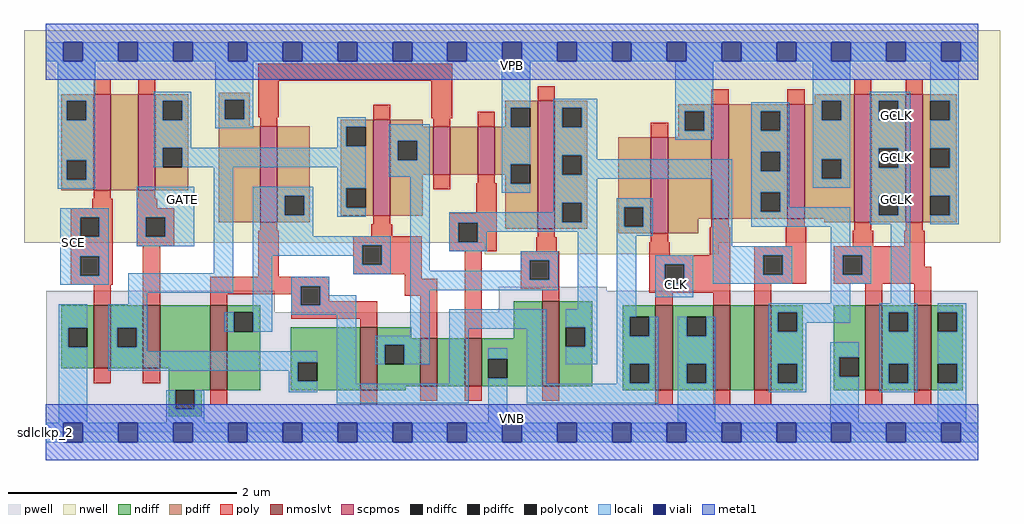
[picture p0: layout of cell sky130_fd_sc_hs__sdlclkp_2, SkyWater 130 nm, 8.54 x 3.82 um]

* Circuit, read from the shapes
.subckt sky130_fd_sc_hs__sdlclkp_2 CLK GATE SCE VGND VNB VPB VPWR GCLK
XM1 n1 SCE VGND VNB sky130_fd_pr__nfet_01v8_lvt w=0.55 l=0.15
XM2 VGND GATE n1 VNB sky130_fd_pr__nfet_01v8_lvt w=0.55 l=0.15
XM3 n2 n3 VGND VNB sky130_fd_pr__nfet_01v8_lvt w=0.74 l=0.15
XM4 n4 n3 n1 VNB sky130_fd_pr__nfet_01v8_lvt w=0.55 l=0.15
XM5 n5 n2 n4 VNB sky130_fd_pr__nfet_01v8_lvt w=0.42 l=0.15
XM6 VGND n6 n5 VNB sky130_fd_pr__nfet_01v8_lvt w=0.42 l=0.15
XM7 n6 n4 VGND VNB sky130_fd_pr__nfet_01v8_lvt w=0.74 l=0.15
XM8 VGND CLK n3 VNB sky130_fd_pr__nfet_01v8_lvt w=0.74 l=0.15
XM9 n7 CLK VGND VNB sky130_fd_pr__nfet_01v8_lvt w=0.74 l=0.15
XM10 n8 n6 n7 VNB sky130_fd_pr__nfet_01v8_lvt w=0.74 l=0.15
XM11 GCLK n8 VGND VNB sky130_fd_pr__nfet_01v8_lvt w=0.74 l=0.15 m=2
XM12 n9 SCE VPWR VPB sky130_fd_pr__pfet_01v8 w=0.84 l=0.15
XM13 n1 GATE n9 VPB sky130_fd_pr__pfet_01v8 w=0.84 l=0.15
XM14 n2 n3 VPWR VPB sky130_fd_pr__pfet_01v8 w=0.84 l=0.15
XM15 n4 n2 n1 VPB sky130_fd_pr__pfet_01v8 w=0.84 l=0.15
XM16 n10 n3 n4 VPB sky130_fd_pr__pfet_01v8 w=0.42 l=0.15
XM17 VPWR n6 n10 VPB sky130_fd_pr__pfet_01v8 w=0.42 l=0.15
XM18 n6 n4 VPWR VPB sky130_fd_pr__pfet_01v8 w=1.12 l=0.15
XM19 VPWR CLK n3 VPB sky130_fd_pr__pfet_01v8 w=0.84 l=0.15
XM20 n8 CLK VPWR VPB sky130_fd_pr__pfet_01v8 w=1 l=0.15
XM21 VPWR n6 n8 VPB sky130_fd_pr__pfet_01v8 w=1 l=0.15
XM22 GCLK n8 VPWR VPB sky130_fd_pr__pfet_01v8 w=1.12 l=0.15 m=2
.ends

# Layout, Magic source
magic
tech sky130A
magscale 1 2
<< nwell >>
rect -38 332 1670 704
rect 768 312 1178 332
<< pwell >>
rect 793 248 982 255
rect 1 210 401 248
rect 793 210 1631 248
rect 1 49 1631 210
rect 0 0 1632 49
<< scpmos >>
rect 84 424 114 592
rect 162 424 192 592
rect 375 368 405 536
rect 573 379 603 547
rect 678 451 708 535
rect 756 451 786 535
rect 861 356 891 580
rect 1059 348 1089 516
rect 1165 374 1195 574
rect 1298 374 1328 574
rect 1415 368 1445 592
rect 1505 368 1535 592
<< nmoslvt >>
rect 84 112 114 222
rect 170 112 200 222
rect 288 74 318 222
rect 550 74 580 184
rect 655 81 685 165
rect 733 81 763 165
rect 869 81 899 229
rect 1067 74 1097 222
rect 1168 74 1198 222
rect 1240 74 1270 222
rect 1434 74 1464 222
rect 1520 74 1550 222
<< ndiff >>
rect 27 183 84 222
rect 27 149 39 183
rect 73 149 84 183
rect 27 112 84 149
rect 114 183 170 222
rect 114 149 125 183
rect 159 149 170 183
rect 114 112 170 149
rect 200 112 288 222
rect 215 74 288 112
rect 318 210 375 222
rect 318 176 329 210
rect 363 176 375 210
rect 318 74 375 176
rect 429 123 550 184
rect 429 89 441 123
rect 475 89 550 123
rect 429 74 550 89
rect 580 165 640 184
rect 819 165 869 229
rect 580 153 655 165
rect 580 119 593 153
rect 627 119 655 153
rect 580 81 655 119
rect 685 81 733 165
rect 763 129 869 165
rect 763 95 774 129
rect 808 95 869 129
rect 763 81 869 95
rect 899 184 956 229
rect 899 150 910 184
rect 944 150 956 184
rect 899 81 956 150
rect 1010 202 1067 222
rect 1010 168 1022 202
rect 1056 168 1067 202
rect 1010 120 1067 168
rect 1010 86 1022 120
rect 1056 86 1067 120
rect 580 74 630 81
rect 215 40 227 74
rect 261 40 273 74
rect 1010 74 1067 86
rect 1097 202 1168 222
rect 1097 168 1122 202
rect 1156 168 1168 202
rect 1097 120 1168 168
rect 1097 86 1122 120
rect 1156 86 1168 120
rect 1097 74 1168 86
rect 1198 74 1240 222
rect 1270 210 1325 222
rect 1270 176 1281 210
rect 1315 176 1325 210
rect 1270 120 1325 176
rect 1270 86 1281 120
rect 1315 86 1325 120
rect 1270 74 1325 86
rect 1379 131 1434 222
rect 1379 97 1389 131
rect 1423 97 1434 131
rect 1379 74 1434 97
rect 1464 210 1520 222
rect 1464 176 1475 210
rect 1509 176 1520 210
rect 1464 120 1520 176
rect 1464 86 1475 120
rect 1509 86 1520 120
rect 1464 74 1520 86
rect 1550 210 1605 222
rect 1550 176 1561 210
rect 1595 176 1605 210
rect 1550 120 1605 176
rect 1550 86 1561 120
rect 1595 86 1605 120
rect 1550 74 1605 86
rect 215 28 273 40
<< pdiff >>
rect 27 580 84 592
rect 27 546 37 580
rect 71 546 84 580
rect 27 476 84 546
rect 27 442 37 476
rect 71 442 84 476
rect 27 424 84 442
rect 114 424 162 592
rect 192 580 249 592
rect 192 546 205 580
rect 239 546 249 580
rect 192 498 249 546
rect 192 464 205 498
rect 239 464 249 498
rect 192 424 249 464
rect 303 582 357 594
rect 303 548 313 582
rect 347 548 357 582
rect 303 536 357 548
rect 804 568 861 580
rect 303 368 375 536
rect 405 414 462 536
rect 405 380 418 414
rect 452 380 462 414
rect 405 368 462 380
rect 516 535 573 547
rect 516 501 526 535
rect 560 501 573 535
rect 516 427 573 501
rect 516 393 526 427
rect 560 393 573 427
rect 516 379 573 393
rect 603 535 660 547
rect 804 535 814 568
rect 603 510 678 535
rect 603 476 616 510
rect 650 476 678 510
rect 603 451 678 476
rect 708 451 756 535
rect 786 534 814 535
rect 848 534 861 568
rect 786 469 861 534
rect 786 451 814 469
rect 603 379 660 451
rect 804 435 814 451
rect 848 435 861 469
rect 804 356 861 435
rect 891 568 948 580
rect 1346 580 1415 592
rect 1346 574 1358 580
rect 891 534 904 568
rect 938 534 948 568
rect 1107 562 1165 574
rect 891 485 948 534
rect 1107 528 1118 562
rect 1152 528 1165 562
rect 1107 516 1165 528
rect 891 451 904 485
rect 938 451 948 485
rect 891 402 948 451
rect 891 368 904 402
rect 938 368 948 402
rect 891 356 948 368
rect 1002 394 1059 516
rect 1002 360 1012 394
rect 1046 360 1059 394
rect 1002 348 1059 360
rect 1089 374 1165 516
rect 1195 562 1298 574
rect 1195 528 1251 562
rect 1285 528 1298 562
rect 1195 491 1298 528
rect 1195 457 1251 491
rect 1285 457 1298 491
rect 1195 420 1298 457
rect 1195 386 1251 420
rect 1285 386 1298 420
rect 1195 374 1298 386
rect 1328 546 1358 574
rect 1392 546 1415 580
rect 1328 478 1415 546
rect 1328 444 1358 478
rect 1392 444 1415 478
rect 1328 374 1415 444
rect 1089 348 1142 374
rect 1362 368 1415 374
rect 1445 580 1505 592
rect 1445 546 1458 580
rect 1492 546 1505 580
rect 1445 497 1505 546
rect 1445 463 1458 497
rect 1492 463 1505 497
rect 1445 414 1505 463
rect 1445 380 1458 414
rect 1492 380 1505 414
rect 1445 368 1505 380
rect 1535 580 1594 592
rect 1535 546 1548 580
rect 1582 546 1594 580
rect 1535 497 1594 546
rect 1535 463 1548 497
rect 1582 463 1594 497
rect 1535 414 1594 463
rect 1535 380 1548 414
rect 1582 380 1594 414
rect 1535 368 1594 380
<< ndiffc >>
rect 39 149 73 183
rect 125 149 159 183
rect 329 176 363 210
rect 441 89 475 123
rect 593 119 627 153
rect 774 95 808 129
rect 910 150 944 184
rect 1022 168 1056 202
rect 1022 86 1056 120
rect 227 40 261 74
rect 1122 168 1156 202
rect 1122 86 1156 120
rect 1281 176 1315 210
rect 1281 86 1315 120
rect 1389 97 1423 131
rect 1475 176 1509 210
rect 1475 86 1509 120
rect 1561 176 1595 210
rect 1561 86 1595 120
<< pdiffc >>
rect 37 546 71 580
rect 37 442 71 476
rect 205 546 239 580
rect 205 464 239 498
rect 313 548 347 582
rect 418 380 452 414
rect 526 501 560 535
rect 526 393 560 427
rect 616 476 650 510
rect 814 534 848 568
rect 814 435 848 469
rect 904 534 938 568
rect 1118 528 1152 562
rect 904 451 938 485
rect 904 368 938 402
rect 1012 360 1046 394
rect 1251 528 1285 562
rect 1251 457 1285 491
rect 1251 386 1285 420
rect 1358 546 1392 580
rect 1358 444 1392 478
rect 1458 546 1492 580
rect 1458 463 1492 497
rect 1458 380 1492 414
rect 1548 546 1582 580
rect 1548 463 1582 497
rect 1548 380 1582 414
<< poly >>
rect 84 592 114 618
rect 162 592 192 618
rect 372 615 711 645
rect 372 551 408 615
rect 375 536 405 551
rect 573 547 603 573
rect 675 550 711 615
rect 861 580 891 606
rect 84 409 114 424
rect 162 409 192 424
rect 81 392 117 409
rect 44 376 117 392
rect 44 342 60 376
rect 94 342 117 376
rect 44 308 117 342
rect 159 392 195 409
rect 159 376 225 392
rect 159 342 175 376
rect 209 342 225 376
rect 678 535 708 550
rect 756 535 786 561
rect 678 425 708 451
rect 756 436 786 451
rect 753 383 789 436
rect 375 353 405 368
rect 573 364 603 379
rect 706 367 789 383
rect 159 326 225 342
rect 44 274 60 308
rect 94 274 117 308
rect 44 258 117 274
rect 84 222 114 258
rect 170 222 200 326
rect 372 272 408 353
rect 570 343 606 364
rect 538 327 658 343
rect 538 293 554 327
rect 588 293 658 327
rect 706 333 722 367
rect 756 333 789 367
rect 1165 574 1195 600
rect 1298 574 1328 600
rect 1415 592 1445 618
rect 1505 592 1535 618
rect 1059 516 1089 542
rect 861 341 891 356
rect 1165 359 1195 374
rect 1298 359 1328 374
rect 706 317 789 333
rect 858 317 894 341
rect 1059 333 1089 348
rect 538 277 658 293
rect 288 256 496 272
rect 288 242 446 256
rect 288 222 318 242
rect 430 222 446 242
rect 480 229 496 256
rect 628 269 658 277
rect 628 239 685 269
rect 480 222 580 229
rect 84 86 114 112
rect 170 86 200 112
rect 430 199 580 222
rect 550 184 580 199
rect 655 165 685 239
rect 733 165 763 317
rect 831 301 899 317
rect 831 267 847 301
rect 881 267 899 301
rect 831 251 899 267
rect 869 229 899 251
rect 1056 310 1092 333
rect 1162 310 1198 359
rect 1295 326 1331 359
rect 1415 353 1445 368
rect 1505 353 1535 368
rect 1412 326 1448 353
rect 1502 326 1538 353
rect 1056 294 1198 310
rect 1056 260 1083 294
rect 1117 260 1198 294
rect 1056 244 1198 260
rect 1067 222 1097 244
rect 1168 222 1198 244
rect 1240 310 1331 326
rect 1240 276 1256 310
rect 1290 276 1331 310
rect 1240 260 1331 276
rect 1379 310 1538 326
rect 1379 276 1395 310
rect 1429 290 1538 310
rect 1429 276 1550 290
rect 1379 260 1550 276
rect 1240 222 1270 260
rect 1434 222 1464 260
rect 1520 222 1550 260
rect 288 48 318 74
rect 550 48 580 74
rect 655 55 685 81
rect 733 55 763 81
rect 869 55 899 81
rect 1067 48 1097 74
rect 1168 48 1198 74
rect 1240 48 1270 74
rect 1434 48 1464 74
rect 1520 48 1550 74
<< polycont >>
rect 60 342 94 376
rect 175 342 209 376
rect 60 274 94 308
rect 554 293 588 327
rect 722 333 756 367
rect 446 222 480 256
rect 847 267 881 301
rect 1083 260 1117 294
rect 1256 276 1290 310
rect 1395 276 1429 310
<< locali >>
rect 0 649 31 683
rect 65 649 127 683
rect 161 649 223 683
rect 257 649 319 683
rect 353 649 415 683
rect 449 649 511 683
rect 545 649 607 683
rect 641 649 703 683
rect 737 649 799 683
rect 833 649 895 683
rect 929 649 991 683
rect 1025 649 1087 683
rect 1121 649 1183 683
rect 1217 649 1279 683
rect 1313 649 1375 683
rect 1409 649 1471 683
rect 1505 649 1567 683
rect 1601 649 1632 683
rect 21 580 87 649
rect 21 546 37 580
rect 71 546 87 580
rect 21 476 87 546
rect 21 442 37 476
rect 71 442 87 476
rect 189 580 255 596
rect 189 546 205 580
rect 239 546 255 580
rect 189 498 255 546
rect 297 582 363 649
rect 297 548 313 582
rect 347 548 363 582
rect 798 568 848 649
rect 297 532 363 548
rect 510 535 560 551
rect 510 501 526 535
rect 510 498 560 501
rect 189 464 205 498
rect 239 464 560 498
rect 21 426 87 442
rect 25 376 110 392
rect 25 342 60 376
rect 94 342 110 376
rect 25 308 110 342
rect 159 376 260 430
rect 159 342 175 376
rect 209 342 260 376
rect 159 326 260 342
rect 25 274 60 308
rect 94 274 110 308
rect 294 278 328 464
rect 25 258 110 274
rect 144 244 328 278
rect 362 414 468 430
rect 362 380 418 414
rect 452 380 468 414
rect 362 343 468 380
rect 510 427 560 464
rect 600 510 672 539
rect 600 476 616 510
rect 650 476 672 510
rect 600 447 672 476
rect 510 393 526 427
rect 510 377 560 393
rect 362 327 604 343
rect 362 309 554 327
rect 144 224 178 244
rect 23 183 73 224
rect 23 149 39 183
rect 23 17 73 149
rect 109 183 178 224
rect 362 210 396 309
rect 538 293 554 309
rect 588 293 604 327
rect 538 277 604 293
rect 638 283 672 447
rect 798 534 814 568
rect 798 469 848 534
rect 798 435 814 469
rect 798 419 848 435
rect 888 568 965 584
rect 888 534 904 568
rect 938 534 965 568
rect 888 485 965 534
rect 1102 562 1168 649
rect 1342 580 1408 649
rect 1102 528 1118 562
rect 1152 528 1168 562
rect 1102 512 1168 528
rect 1235 562 1301 578
rect 1235 528 1251 562
rect 1285 528 1301 562
rect 888 451 904 485
rect 938 478 965 485
rect 1235 491 1301 528
rect 938 451 1201 478
rect 888 444 1201 451
rect 888 402 965 444
rect 888 385 904 402
rect 706 368 904 385
rect 938 368 965 402
rect 706 367 965 368
rect 706 333 722 367
rect 756 351 965 367
rect 756 333 772 351
rect 706 317 772 333
rect 831 301 897 317
rect 831 283 847 301
rect 109 149 125 183
rect 159 149 178 183
rect 313 176 329 210
rect 363 176 396 210
rect 430 256 496 272
rect 430 222 446 256
rect 480 240 496 256
rect 638 267 847 283
rect 881 267 897 301
rect 638 249 897 267
rect 480 222 543 240
rect 430 206 543 222
rect 109 142 178 149
rect 109 123 475 142
rect 109 108 441 123
rect 425 89 441 108
rect 211 40 227 74
rect 261 40 277 74
rect 425 70 475 89
rect 509 85 543 206
rect 638 169 672 249
rect 931 215 965 351
rect 577 153 672 169
rect 577 119 593 153
rect 627 119 672 153
rect 706 181 876 215
rect 706 85 740 181
rect 509 51 740 85
rect 774 129 808 147
rect 211 17 277 40
rect 774 17 808 95
rect 842 85 876 181
rect 910 184 965 215
rect 944 150 965 184
rect 910 119 965 150
rect 999 394 1062 410
rect 999 360 1012 394
rect 1046 360 1062 394
rect 999 344 1062 360
rect 999 202 1033 344
rect 1167 326 1201 444
rect 1235 457 1251 491
rect 1285 457 1301 491
rect 1235 420 1301 457
rect 1342 546 1358 580
rect 1392 546 1408 580
rect 1342 478 1408 546
rect 1342 444 1358 478
rect 1392 444 1408 478
rect 1342 428 1408 444
rect 1442 580 1513 596
rect 1442 546 1458 580
rect 1492 546 1513 580
rect 1442 497 1513 546
rect 1442 463 1458 497
rect 1492 463 1513 497
rect 1235 386 1251 420
rect 1285 394 1301 420
rect 1442 414 1513 463
rect 1285 386 1408 394
rect 1235 360 1408 386
rect 1442 380 1458 414
rect 1492 380 1513 414
rect 1442 364 1513 380
rect 1548 580 1598 649
rect 1582 546 1598 580
rect 1548 497 1598 546
rect 1582 463 1598 497
rect 1548 414 1598 463
rect 1582 380 1598 414
rect 1548 364 1598 380
rect 1374 326 1408 360
rect 1167 310 1306 326
rect 1067 294 1133 310
rect 1067 260 1083 294
rect 1117 260 1133 294
rect 1167 276 1256 310
rect 1290 276 1306 310
rect 1167 260 1306 276
rect 1374 310 1445 326
rect 1374 276 1395 310
rect 1429 276 1445 310
rect 1374 260 1445 276
rect 1067 236 1133 260
rect 1374 226 1408 260
rect 1479 226 1513 364
rect 1265 210 1408 226
rect 999 168 1022 202
rect 1056 168 1072 202
rect 999 120 1072 168
rect 999 86 1022 120
rect 1056 86 1072 120
rect 999 85 1072 86
rect 842 51 1072 85
rect 1106 168 1122 202
rect 1156 168 1172 202
rect 1106 120 1172 168
rect 1106 86 1122 120
rect 1156 86 1172 120
rect 1106 17 1172 86
rect 1265 176 1281 210
rect 1315 192 1408 210
rect 1459 210 1525 226
rect 1315 176 1331 192
rect 1265 120 1331 176
rect 1459 176 1475 210
rect 1509 176 1525 210
rect 1265 86 1281 120
rect 1315 86 1331 120
rect 1265 70 1331 86
rect 1373 131 1423 158
rect 1373 97 1389 131
rect 1373 17 1423 97
rect 1459 120 1525 176
rect 1459 86 1475 120
rect 1509 86 1525 120
rect 1459 70 1525 86
rect 1561 210 1611 226
rect 1595 176 1611 210
rect 1561 120 1611 176
rect 1595 86 1611 120
rect 1561 17 1611 86
rect 0 -17 31 17
rect 65 -17 127 17
rect 161 -17 223 17
rect 257 -17 319 17
rect 353 -17 415 17
rect 449 -17 511 17
rect 545 -17 607 17
rect 641 -17 703 17
rect 737 -17 799 17
rect 833 -17 895 17
rect 929 -17 991 17
rect 1025 -17 1087 17
rect 1121 -17 1183 17
rect 1217 -17 1279 17
rect 1313 -17 1375 17
rect 1409 -17 1471 17
rect 1505 -17 1567 17
rect 1601 -17 1632 17
<< viali >>
rect 31 649 65 683
rect 127 649 161 683
rect 223 649 257 683
rect 319 649 353 683
rect 415 649 449 683
rect 511 649 545 683
rect 607 649 641 683
rect 703 649 737 683
rect 799 649 833 683
rect 895 649 929 683
rect 991 649 1025 683
rect 1087 649 1121 683
rect 1183 649 1217 683
rect 1279 649 1313 683
rect 1375 649 1409 683
rect 1471 649 1505 683
rect 1567 649 1601 683
rect 31 -17 65 17
rect 127 -17 161 17
rect 223 -17 257 17
rect 319 -17 353 17
rect 415 -17 449 17
rect 511 -17 545 17
rect 607 -17 641 17
rect 703 -17 737 17
rect 799 -17 833 17
rect 895 -17 929 17
rect 991 -17 1025 17
rect 1087 -17 1121 17
rect 1183 -17 1217 17
rect 1279 -17 1313 17
rect 1375 -17 1409 17
rect 1471 -17 1505 17
rect 1567 -17 1601 17
<< metal1 >>
rect 0 683 1632 715
rect 0 649 31 683
rect 65 649 127 683
rect 161 649 223 683
rect 257 649 319 683
rect 353 649 415 683
rect 449 649 511 683
rect 545 649 607 683
rect 641 649 703 683
rect 737 649 799 683
rect 833 649 895 683
rect 929 649 991 683
rect 1025 649 1087 683
rect 1121 649 1183 683
rect 1217 649 1279 683
rect 1313 649 1375 683
rect 1409 649 1471 683
rect 1505 649 1567 683
rect 1601 649 1632 683
rect 0 617 1632 649
rect 0 17 1632 49
rect 0 -17 31 17
rect 65 -17 127 17
rect 161 -17 223 17
rect 257 -17 319 17
rect 353 -17 415 17
rect 449 -17 511 17
rect 545 -17 607 17
rect 641 -17 703 17
rect 737 -17 799 17
rect 833 -17 895 17
rect 929 -17 991 17
rect 1025 -17 1087 17
rect 1121 -17 1183 17
rect 1217 -17 1279 17
rect 1313 -17 1375 17
rect 1409 -17 1471 17
rect 1505 -17 1567 17
rect 1601 -17 1632 17
rect 0 -49 1632 -17
<< labels >>
rlabel comment s 0 0 0 0 4 sdlclkp_2
flabel pwell s 0 0 1632 49 0 FreeSans 200 0 0 0 VNB
port 5 nsew ground bidirectional
flabel nwell s 0 617 1632 666 0 FreeSans 200 0 0 0 VPB
port 6 nsew power bidirectional
flabel metal1 s 0 617 1632 666 0 FreeSans 340 0 0 0 VPWR
port 7 nsew power bidirectional
flabel metal1 s 0 0 1632 49 0 FreeSans 340 0 0 0 VGND
port 4 nsew ground bidirectional
flabel locali s 1471 390 1505 424 0 FreeSans 340 0 0 0 GCLK
port 8 nsew signal output
flabel locali s 1471 464 1505 498 0 FreeSans 340 0 0 0 GCLK
port 8 nsew signal output
flabel locali s 1471 538 1505 572 0 FreeSans 340 0 0 0 GCLK
port 8 nsew signal output
flabel locali s 1087 242 1121 276 0 FreeSans 340 0 0 0 CLK
port 1 nsew clock input
flabel locali s 223 390 257 424 0 FreeSans 340 0 0 0 GATE
port 2 nsew signal input
flabel locali s 31 316 65 350 0 FreeSans 340 0 0 0 SCE
port 3 nsew signal input
<< properties >>
string LEFsite unit
string LEFclass CORE
string FIXED_BBOX 0 0 1632 666
string GDS_FILE $PDKPATH/libs.ref/sky130_fd_sc_hs/gds/sky130_fd_sc_hs.gds
string LEFsymmetry X Y
string GDS_END 491572
string GDS_START 479108
<< end >>
